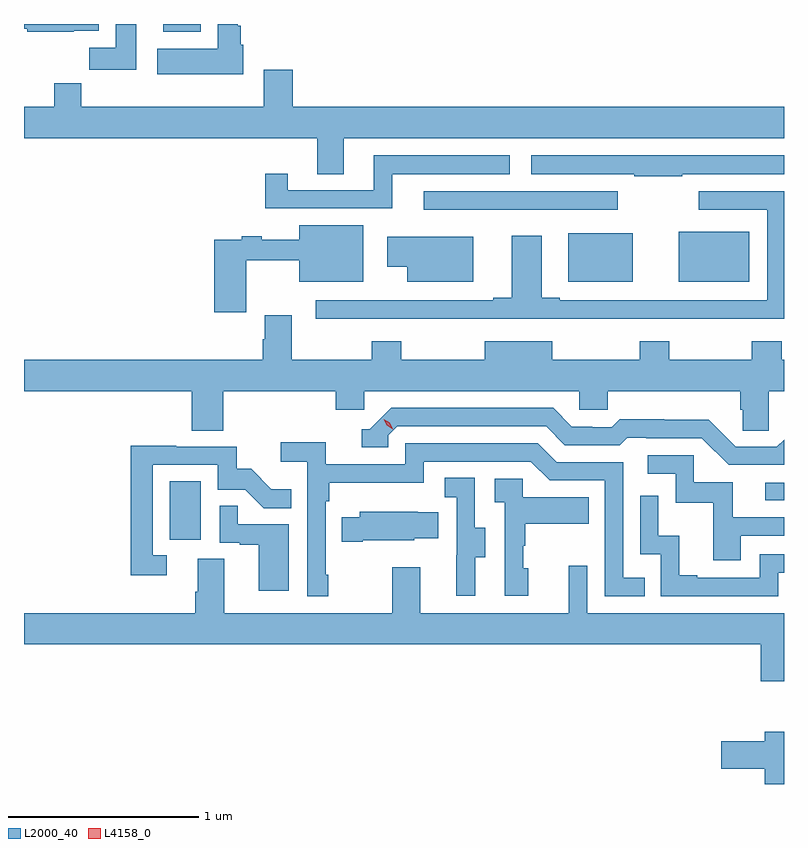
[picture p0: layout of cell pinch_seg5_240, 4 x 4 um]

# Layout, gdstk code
import gdstk
lib = gdstk.Library(unit=1e-6, precision=1e-09)
def R(c, l, rs):  # rectangles x0, y0, x1, y1
    for r in rs: c.add(gdstk.rectangle(r[:2], r[2:], *l))
def P(c, l, *ps):  # polygons
    for p in ps: c.add(gdstk.Polygon(p, *l))
L2000_40 = (2000, 40)
L4158_0 = (4158, 0)

pinch_seg5_240 = lib.new_cell('pinch_seg5_240')
R(pinch_seg5_240, L2000_40, [(921.23,907.926,921.394,908.233), (924.363,908.133,924.463,908.226), (923.327,909.284,923.668,909.538), (923.909,909.284,924.28,909.547), (921.197,910.598,921.394,910.64)])
P(pinch_seg5_240, L2000_40, [(921.055,910.64),(920.945,910.64),(920.945,910.516),(920.806,910.516),(920.806,910.398),(921.055,910.398)],
  [(920.724,910.604),(920.857,910.604),(920.857,910.64),(920.463,910.64),(920.463,910.615),(920.481,910.615),(920.481,910.598),(920.724,910.598)],
  [(921.616,910.53),(921.604,910.53),(921.604,910.63),(921.589,910.63),(921.589,910.64),(921.482,910.64),(921.482,910.51),(921.165,910.51),(921.165,910.376),(921.616,910.376)],
  [(922.147,910.04),(924.463,910.04),(924.463,910.204),(921.878,910.204),(921.878,910.399),(921.725,910.399),(921.725,910.204),(920.765,910.204),(920.765,910.328),(920.621,910.328),(920.621,910.204),(920.463,910.204),(920.463,910.04),(922.007,910.04),(922.007,909.85),(922.147,909.85)],
  [(923.927,909.848),(924.463,909.848),(924.463,909.949),(923.133,909.949),(923.133,909.848),(923.674,909.848),(923.674,909.838),(923.927,909.838)],
  [(922.402,909.848),(923.02,909.848),(923.02,909.949),(922.304,909.949),(922.304,909.765),(921.85,909.765),(921.85,909.853),(921.733,909.853),(921.733,909.669),(922.402,909.669)],
  [(923.184,909.663),(923.587,909.663),(923.587,909.759),(922.566,909.759),(922.566,909.662),(923.184,909.662)],
  [(922.793,909.09),(923.284,909.09),(923.284,909.089),(923.615,909.089),(923.615,909.09),(923.947,909.09),(923.947,909.089),(924.203,909.089),(924.203,909.09),(924.463,909.09),(924.463,909.759),(924.015,909.759),(924.015,909.663),(924.375,909.663),(924.375,909.186),(923.284,909.186),(923.284,909.199),(923.188,909.199),(923.188,909.526),(923.03,909.526),(923.03,909.199),(922.934,909.199),(922.934,909.186),(921.999,909.186),(921.999,909.09),(922.537,909.09),(922.537,909.089),(922.793,909.089)],
  [(921.634,909.396),(921.911,909.396),(921.911,909.284),(922.249,909.284),(922.249,909.58),(921.911,909.58),(921.911,909.505),(921.713,909.505),(921.713,909.524),(921.61,909.524),(921.61,909.504),(921.464,909.504),(921.464,909.123),(921.634,909.123)],
  [(922.828,909.52),(922.374,909.52),(922.374,909.362),(922.481,909.362),(922.481,909.284),(922.828,909.284)],
  [(924.233,908.61),(924.247,908.61),(924.247,908.5),(924.384,908.5),(924.384,908.708),(924.463,908.708),(924.463,908.872),(924.452,908.872),(924.452,908.971),(924.292,908.971),(924.292,908.872),(923.859,908.872),(923.859,908.971),(923.704,908.971),(923.704,908.872),(923.242,908.872),(923.242,908.971),(922.889,908.971),(922.889,908.872),(922.449,908.872),(922.449,908.971),(922.294,908.971),(922.294,908.872),(921.871,908.872),(921.871,909.106),(921.731,909.106),(921.731,908.981),(921.719,908.981),(921.719,908.872),(920.463,908.872),(920.463,908.708),(921.347,908.708),(921.347,908.5),(921.512,908.5),(921.512,908.708),(922.103,908.708),(922.103,908.61),(922.254,908.61),(922.254,908.708),(923.385,908.708),(923.385,908.61),(923.535,908.61),(923.535,908.708),(924.233,908.708)],
  [(924.463,908.452),(924.426,908.415),(924.21,908.415),(924.068,908.557),(923.832,908.557),(923.832,908.56),(923.599,908.56),(923.557,908.517),(923.454,908.517),(923.454,908.52),(923.347,908.52),(923.248,908.619),(922.395,908.619),(922.284,908.508),(922.241,908.508),(922.241,908.412),(922.38,908.412),(922.38,908.475),(922.428,908.523),(923.211,908.523),(923.31,908.424),(923.599,908.424),(923.638,908.463),(923.737,908.463),(923.737,908.46),(924.03,908.46),(924.171,908.319),(924.463,908.319)],
  [(922.063,907.741),(922.05,907.741),(922.05,908.129),(922.07,908.129),(922.07,908.225),(922.566,908.225),(922.566,908.337),(923.13,908.337),(923.229,908.238),(923.52,908.238),(923.52,907.629),(923.729,907.629),(923.729,907.725),(923.616,907.725),(923.616,908.334),(923.266,908.334),(923.167,908.433),(922.47,908.433),(922.47,908.322),(922.052,908.322),(922.052,908.438),(921.813,908.438),(921.813,908.336),(921.954,908.336),(921.954,907.629),(922.063,907.629)],
  [(921.214,907.845),(921.141,907.845),(921.141,908.319),(921.483,908.319),(921.483,908.19),(921.627,908.19),(921.725,908.092),(921.869,908.092),(921.869,908.191),(921.765,908.191),(921.658,908.298),(921.582,908.298),(921.582,908.415),(921.263,908.415),(921.263,908.42),(921.025,908.42),(921.025,907.74),(921.214,907.74)],
  [(924.235,907.947),(924.463,907.947),(924.463,908.043),(924.193,908.043),(924.193,908.229),(923.988,908.229),(923.988,908.37),(923.745,908.37),(923.745,908.274),(923.892,908.274),(923.892,908.121),(924.091,908.121),(924.091,907.818),(924.235,907.818)],
  [(922.837,907.834),(922.891,907.834),(922.891,907.989),(922.836,907.989),(922.836,908.252),(922.677,908.252),(922.677,908.149),(922.74,908.149),(922.74,907.845),(922.739,907.845),(922.739,907.632),(922.837,907.632)],
  [(923.116,907.776),(923.091,907.776),(923.091,907.895),(923.101,907.895),(923.101,908.009),(923.435,908.009),(923.435,908.149),(923.088,908.149),(923.088,908.247),(922.941,908.247),(922.941,908.123),(922.992,908.123),(922.992,907.632),(923.116,907.632)],
  [(924.432,907.752),(924.463,907.752),(924.463,907.848),(924.336,907.848),(924.336,907.725),(924.007,907.725),(924.007,907.738),(923.912,907.738),(923.912,907.946),(923.802,907.946),(923.802,908.158),(923.706,908.158),(923.706,907.848),(923.814,907.848),(923.814,907.629),(924.432,907.629)],
  [(921.856,908.007),(921.587,908.007),(921.587,908.105),(921.492,908.105),(921.492,907.911),(921.599,907.911),(921.599,907.899),(921.698,907.899),(921.698,907.656),(921.856,907.656)],
  [(922.246,907.922),(922.518,907.922),(922.518,907.934),(922.643,907.934),(922.643,908.071),(922.535,908.071),(922.535,908.074),(922.229,908.074),(922.229,908.044),(922.135,908.044),(922.135,907.915),(922.246,907.915)],
  [(924.463,907.54),(923.427,907.54),(923.427,907.789),(923.33,907.789),(923.33,907.54),(922.549,907.54),(922.549,907.78),(922.402,907.78),(922.402,907.54),(921.517,907.54),(921.517,907.826),(921.377,907.826),(921.377,907.652),(921.365,907.652),(921.365,907.54),(920.463,907.54),(920.463,907.376),(924.341,907.376),(924.341,907.182),(924.463,907.182)],
  [(924.463,906.916),(924.362,906.916),(924.362,906.866),(924.132,906.866),(924.132,906.719),(924.362,906.719),(924.362,906.64),(924.463,906.64)])
P(pinch_seg5_240, L4158_0, [(922.403,908.508),(922.372,908.528),(922.357,908.561),(922.357,908.561),(922.357,908.561),(922.387,908.541),(922.403,908.509),(922.403,908.508)])

lib.write_gds('pinch_seg5_240.gds')
